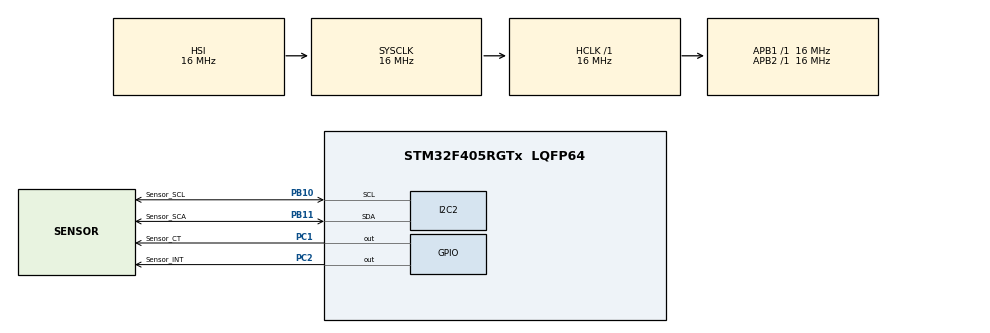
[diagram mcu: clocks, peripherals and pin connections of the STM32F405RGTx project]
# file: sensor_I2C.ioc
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Mcu.Family=STM32F4
Mcu.Name=STM32F405RGTx
Mcu.Package=LQFP64
NVIC.PriorityGroup=NVIC_PRIORITYGROUP_4
PB10.GPIO_Label=Sensor_SCL
PB10.Mode=I2C
PB10.Signal=I2C2_SCL
PB11.GPIO_Label=Sensor_SCA
PB11.Mode=I2C
PB11.Signal=I2C2_SDA
PC1.GPIO_Label=Sensor_CT
PC1.GPIO_PuPd=GPIO_PULLUP
PC1.Signal=GPIO_Output
PC2.GPIO_Label=Sensor_INT
PC2.GPIO_ModeDefaultOutputPP=GPIO_MODE_OUTPUT_PP
PC2.GPIO_PuPd=GPIO_PULLUP
PC2.Signal=GPIO_Output
ProjectManager.HeapSize=0x200
ProjectManager.StackSize=0x400
ProjectManager.TargetToolchain=MDK-ARM V5.27
RCC.AHBFreq_Value=16000000
RCC.APB1Freq_Value=16000000
RCC.APB2Freq_Value=16000000
RCC.CortexFreq_Value=16000000
RCC.HSE_VALUE=25000000
RCC.HSI_VALUE=16000000
RCC.LSE_VALUE=32768
RCC.SYSCLKFreq_VALUE=16000000
RCC.VCOOutputFreq_Value=192000000
board=custom

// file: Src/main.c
/* USER CODE BEGIN Header */
/**
  ******************************************************************************
  * @file           : main.c
  * @brief          : Main program body
  ******************************************************************************
  * @attention
  *
  * <h2><center>&copy; Copyright (c) 2020 STMicroelectronics.
  * All rights reserved.</center></h2>
  *
  * This software component is licensed by ST under BSD 3-Clause license,
  * the "License"; You may not use this file except in compliance with the
  * License. You may obtain a copy of the License at:
  *                        opensource.org/licenses/BSD-3-Clause
  *
  ******************************************************************************
  */
/* USER CODE END Header */

#include "main.h"

/* USER CODE BEGIN Includes */
#include "string.h"
#include <stdio.h>
/* USER CODE END Includes */

I2C_HandleTypeDef hi2c2;

/* USER CODE BEGIN PV */
uint8_t ADT7420_ADDR=0x48 << 1;

/* USER CODE END PV */

void SystemClock_Config(void);
static void MX_GPIO_Init(void);
static void MX_I2C2_Init(void);

int main(void)
{

  /* MCU Configuration--------------------------------------------------------*/

  /* Reset of all peripherals, Initializes the Flash interface and the Systick. */
  HAL_Init();

  /* Configure the system clock */
  SystemClock_Config();

  /* Initialize all configured peripherals */
  MX_GPIO_Init();
  MX_I2C2_Init();
  /* USER CODE BEGIN 2 */
	uint8_t data[2];

	if(HAL_I2C_IsDeviceReady(&hi2c2,ADT7420_ADDR,2,10)==HAL_OK){
		printf("ok ok !");
	}

	data[0]=0x15;
	data[1]=0x15;

ADT7420_ADDR=0xD7 ;
	HAL_I2C_Master_Transmit(&hi2c2,ADT7420_ADDR,data,1,100);

//	int temp_value = calc_celcius(temp_raw); //TODO: convert to Celsius
  /* USER CODE END 2 */

  /* Infinite loop */
  /* USER CODE BEGIN WHILE */

  while (1)
  {
		HAL_I2C_Master_Receive(&hi2c2,ADT7420_ADDR,data,2,100);
		int16_t temp;
		float val;

//	temp= ((int16_t)	data[0] << 8 )| data[1] ;
	temp=	(int16_t)	data[0] ;
	if(((temp>>15)&1) == 0){
    val= temp/128.0;
  }else{
    val = (temp-65536)/128.0;
  }

		printf("%f\n",val);
	HAL_Delay(30);
    /* USER CODE END WHILE */

  }
}

void SystemClock_Config(void)
{
  RCC_OscInitTypeDef RCC_OscInitStruct = {0};
  RCC_ClkInitTypeDef RCC_ClkInitStruct = {0};

  /** Configure the main internal regulator output voltage
  */
  __HAL_RCC_PWR_CLK_ENABLE();
  __HAL_PWR_VOLTAGESCALING_CONFIG(PWR_REGULATOR_VOLTAGE_SCALE1);
  /** Initializes the CPU, AHB and APB busses clocks
  */
  RCC_OscInitStruct.OscillatorType = RCC_OSCILLATORTYPE_HSI;
  RCC_OscInitStruct.HSIState = RCC_HSI_ON;
  RCC_OscInitStruct.HSICalibrationValue = RCC_HSICALIBRATION_DEFAULT;
  RCC_OscInitStruct.PLL.PLLState = RCC_PLL_NONE;
  if (HAL_RCC_OscConfig(&RCC_OscInitStruct) != HAL_OK)
  {
    Error_Handler();
  }
  /** Initializes the CPU, AHB and APB busses clocks
  */
  RCC_ClkInitStruct.ClockType = RCC_CLOCKTYPE_HCLK|RCC_CLOCKTYPE_SYSCLK
                              |RCC_CLOCKTYPE_PCLK1|RCC_CLOCKTYPE_PCLK2;
  RCC_ClkInitStruct.SYSCLKSource = RCC_SYSCLKSOURCE_HSI;
  RCC_ClkInitStruct.AHBCLKDivider = RCC_SYSCLK_DIV1;
  RCC_ClkInitStruct.APB1CLKDivider = RCC_HCLK_DIV1;
  RCC_ClkInitStruct.APB2CLKDivider = RCC_HCLK_DIV1;

  if (HAL_RCC_ClockConfig(&RCC_ClkInitStruct, FLASH_LATENCY_0) != HAL_OK)
  {
    Error_Handler();
  }
}

static void MX_I2C2_Init(void)
{

  hi2c2.Instance = I2C2;
  hi2c2.Init.ClockSpeed = 100000;
  hi2c2.Init.DutyCycle = I2C_DUTYCYCLE_2;
  hi2c2.Init.OwnAddress1 = 0;
  hi2c2.Init.AddressingMode = I2C_ADDRESSINGMODE_7BIT;
  hi2c2.Init.DualAddressMode = I2C_DUALADDRESS_DISABLE;
  hi2c2.Init.OwnAddress2 = 0;
  hi2c2.Init.GeneralCallMode = I2C_GENERALCALL_DISABLE;
  hi2c2.Init.NoStretchMode = I2C_NOSTRETCH_DISABLE;
  if (HAL_I2C_Init(&hi2c2) != HAL_OK)
  {
    Error_Handler();
  }

}

static void MX_GPIO_Init(void)
{
  GPIO_InitTypeDef GPIO_InitStruct = {0};

  /* GPIO Ports Clock Enable */
  __HAL_RCC_GPIOC_CLK_ENABLE();
  __HAL_RCC_GPIOB_CLK_ENABLE();

  /*Configure GPIO pin Output Level */
  HAL_GPIO_WritePin(GPIOC, Sensor_CT_Pin|Sensor_INT_Pin, GPIO_PIN_RESET);

  /*Configure GPIO pins : Sensor_CT_Pin Sensor_INT_Pin */
  GPIO_InitStruct.Pin = Sensor_CT_Pin|Sensor_INT_Pin;
  GPIO_InitStruct.Mode = GPIO_MODE_OUTPUT_PP;
  GPIO_InitStruct.Pull = GPIO_PULLUP;
  GPIO_InitStruct.Speed = GPIO_SPEED_FREQ_LOW;
  HAL_GPIO_Init(GPIOC, &GPIO_InitStruct);

}

void Error_Handler(void)
{
}

/************************ (C) COPYRIGHT STMicroelectronics *****END OF FILE****/
